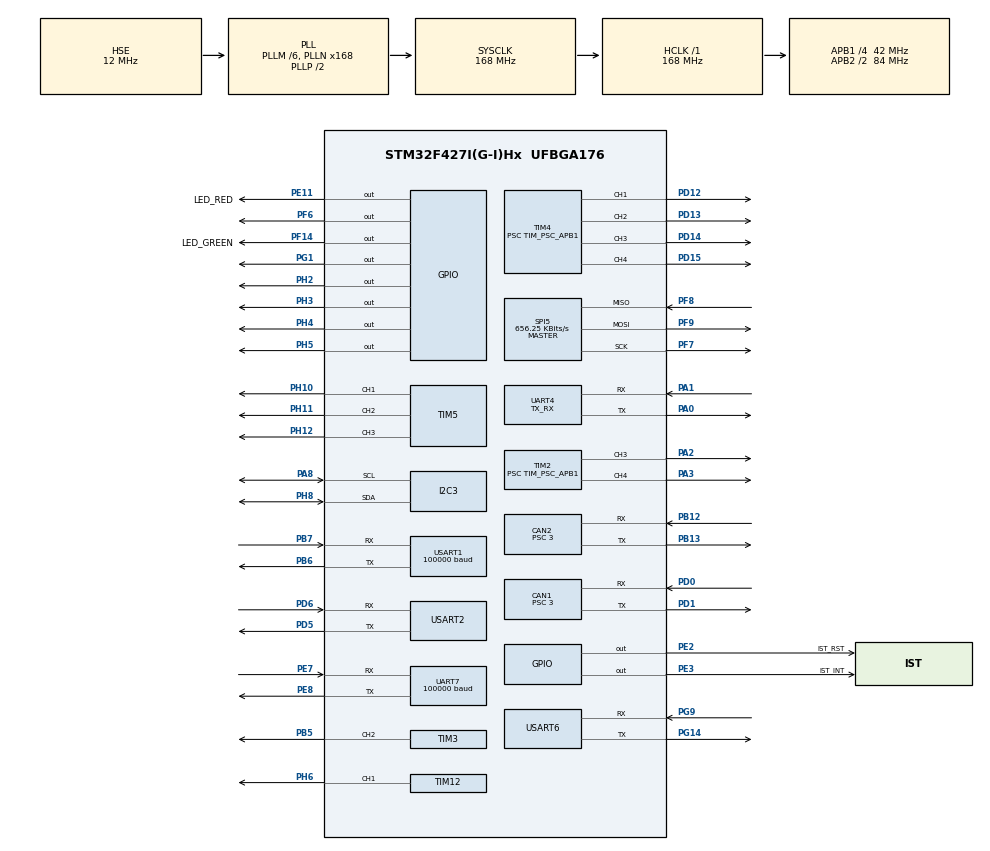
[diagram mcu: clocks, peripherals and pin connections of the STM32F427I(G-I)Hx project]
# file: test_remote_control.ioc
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CAN1.BS1=CAN_BS1_9TQ
CAN1.BS2=CAN_BS2_4TQ
CAN1.CalculateBaudRate=1000000
CAN1.CalculateTimeQuantum=71.42857142857143
CAN1.Prescaler=3
CAN2.BS1=CAN_BS1_9TQ
CAN2.BS2=CAN_BS2_4TQ
CAN2.CalculateBaudRate=1000000
CAN2.CalculateTimeQuantum=71.42857142857143
CAN2.Prescaler=3
Dma.Request0=USART1_RX
Dma.Request1=USART2_RX
Dma.Request2=USART2_TX
Dma.USART1_RX.0.Direction=DMA_PERIPH_TO_MEMORY
Dma.USART1_RX.0.FIFOMode=DMA_FIFOMODE_DISABLE
Dma.USART1_RX.0.Instance=DMA2_Stream2
Dma.USART1_RX.0.MemDataAlignment=DMA_MDATAALIGN_BYTE
Dma.USART1_RX.0.MemInc=DMA_MINC_ENABLE
Dma.USART1_RX.0.Mode=DMA_CIRCULAR
Dma.USART1_RX.0.PeriphDataAlignment=DMA_PDATAALIGN_BYTE
Dma.USART1_RX.0.PeriphInc=DMA_PINC_DISABLE
Dma.USART1_RX.0.Priority=DMA_PRIORITY_VERY_HIGH
Dma.USART2_RX.1.Direction=DMA_PERIPH_TO_MEMORY
Dma.USART2_RX.1.FIFOMode=DMA_FIFOMODE_DISABLE
Dma.USART2_RX.1.Instance=DMA1_Stream5
Dma.USART2_RX.1.MemDataAlignment=DMA_MDATAALIGN_BYTE
Dma.USART2_RX.1.MemInc=DMA_MINC_ENABLE
Dma.USART2_RX.1.Mode=DMA_NORMAL
Dma.USART2_RX.1.PeriphDataAlignment=DMA_PDATAALIGN_BYTE
Dma.USART2_RX.1.PeriphInc=DMA_PINC_DISABLE
Dma.USART2_RX.1.Priority=DMA_PRIORITY_LOW
Dma.USART2_TX.2.Direction=DMA_MEMORY_TO_PERIPH
Dma.USART2_TX.2.FIFOMode=DMA_FIFOMODE_DISABLE
Dma.USART2_TX.2.Instance=DMA1_Stream6
Dma.USART2_TX.2.MemDataAlignment=DMA_MDATAALIGN_BYTE
Dma.USART2_TX.2.MemInc=DMA_MINC_ENABLE
Dma.USART2_TX.2.Mode=DMA_NORMAL
Dma.USART2_TX.2.PeriphDataAlignment=DMA_PDATAALIGN_BYTE
Dma.USART2_TX.2.PeriphInc=DMA_PINC_DISABLE
Dma.USART2_TX.2.Priority=DMA_PRIORITY_LOW
Mcu.Family=STM32F4
Mcu.Name=STM32F427I(G-I)Hx
Mcu.Package=UFBGA176
Mcu.UserConstants=APB1_TIMER_CLOCKS,84000000;APB2_TIMER_CLOCKS,168000000;PWM_FREQUENCE,50;PWM_RESOLUTION,10000;PWM_DEFAULT_DUTY,1000;TIM_PSC_APB1,((APB1_TIMER_CLOCKS/PWM_FREQUENCE)/PWM_RESOLUTION -1);TIM_PSC_APB2,((APB2_TIMER_CLOCKS/PWM_FREQUENCE)/PWM_RESOLUTION -1)
NVIC.CAN1_RX0_IRQn=true\:0\:0\:false\:false\:true\:true\:true
NVIC.CAN1_TX_IRQn=true\:0\:0\:false\:false\:true\:true\:true
NVIC.CAN2_RX0_IRQn=true\:0\:0\:false\:false\:true\:true\:true
NVIC.CAN2_TX_IRQn=true\:0\:0\:false\:false\:true\:true\:true
NVIC.DMA1_Stream5_IRQn=true\:0\:0\:false\:false\:true\:false\:true
NVIC.DMA1_Stream6_IRQn=true\:0\:0\:false\:false\:true\:false\:true
NVIC.DMA2_Stream2_IRQn=true\:0\:0\:false\:false\:true\:false\:true
NVIC.PriorityGroup=NVIC_PRIORITYGROUP_4
NVIC.UART4_IRQn=true\:0\:0\:false\:false\:true\:true\:true
NVIC.USART1_IRQn=true\:0\:0\:false\:false\:true\:true\:true
NVIC.USART2_IRQn=true\:0\:0\:false\:false\:true\:true\:true
NVIC.USART6_IRQn=true\:0\:0\:false\:false\:true\:true\:true
PA0/WKUP.Mode=Asynchronous
PA0/WKUP.Signal=UART4_TX
PA1.Mode=Asynchronous
PA1.Signal=UART4_RX
PA13.Mode=Serial_Wire
PA13.Signal=SYS_JTMS-SWDIO
PA14.Mode=Serial_Wire
PA14.Signal=SYS_JTCK-SWCLK
PA2.Signal=S_TIM2_CH3
PA3.Signal=S_TIM2_CH4
PA8.Mode=I2C
PA8.Signal=I2C3_SCL
PA9.Signal=I2C3_SMBA
PB12.Mode=CAN_Activate
PB12.Signal=CAN2_RX
PB13.Mode=CAN_Activate
PB13.Signal=CAN2_TX
PB5.Signal=S_TIM3_CH2
PB6.Mode=Asynchronous
PB6.Signal=USART1_TX
PB7.Mode=Asynchronous
PB7.Signal=USART1_RX
PD0.Mode=CAN_Activate
PD0.Signal=CAN1_RX
PD1.Mode=CAN_Activate
PD1.Signal=CAN1_TX
PD12.Signal=S_TIM4_CH1
PD13.Signal=S_TIM4_CH2
PD14.Signal=S_TIM4_CH3
PD15.Signal=S_TIM4_CH4
PD5.Mode=Asynchronous
PD5.Signal=USART2_TX
PD6.Mode=Asynchronous
PD6.Signal=USART2_RX
PE11.GPIO_Label=LED_RED
PE11.Signal=GPIO_Output
PE2.GPIO_Label=IST_RST
PE2.GPIO_Speed=GPIO_SPEED_FREQ_VERY_HIGH
PE2.Signal=GPIO_Output
PE3.GPIO_Label=IST_INT
PE3.GPIO_Speed=GPIO_SPEED_FREQ_VERY_HIGH
PE3.Signal=GPIO_Output
PE7.Mode=Asynchronous
PE7.Signal=UART7_RX
PE8.Mode=Asynchronous
PE8.Signal=UART7_TX
PF14.GPIO_Label=LED_GREEN
PF14.Signal=GPIO_Output
PF6.Signal=GPIO_Output
PF7.Mode=Full_Duplex_Master
PF7.Signal=SPI5_SCK
PF8.Mode=Full_Duplex_Master
PF8.Signal=SPI5_MISO
PF9.Mode=Full_Duplex_Master
PF9.Signal=SPI5_MOSI
PG1.Signal=GPIO_Output
PG14.Mode=Asynchronous
PG14.Signal=USART6_TX
PG9.Mode=Asynchronous
PG9.Signal=USART6_RX
PH0/OSC_IN.Mode=HSE-External-Oscillator
PH0/OSC_IN.Signal=RCC_OSC_IN
PH1/OSC_OUT.Mode=HSE-External-Oscillator
PH1/OSC_OUT.Signal=RCC_OSC_OUT
PH10.Signal=S_TIM5_CH1
PH11.Signal=S_TIM5_CH2
PH12.Signal=S_TIM5_CH3
PH2.Signal=GPIO_Output
PH3.Signal=GPIO_Output
PH4.Signal=GPIO_Output
PH5.Signal=GPIO_Output
PH6.Signal=S_TIM12_CH1
PH8.Mode=I2C
PH8.Signal=I2C3_SDA
ProjectManager.HeapSize=0x200
ProjectManager.StackSize=0x400
ProjectManager.TargetToolchain=STM32CubeIDE
RCC.48MHZClocksFreq_Value=84000000
RCC.AHBFreq_Value=168000000
RCC.APB1CLKDivider=RCC_HCLK_DIV4
RCC.APB1Freq_Value=42000000
RCC.APB1TimFreq_Value=84000000
RCC.APB2CLKDivider=RCC_HCLK_DIV2
RCC.APB2Freq_Value=84000000
RCC.APB2TimFreq_Value=168000000
RCC.CortexFreq_Value=168000000
RCC.HCLKFreq_Value=168000000
RCC.HSE_VALUE=12000000
RCC.HSI_VALUE=16000000
RCC.LSE_VALUE=32768
RCC.PLLM=6
RCC.PLLN=168
RCC.PLLSourceVirtual=RCC_PLLSOURCE_HSE
RCC.SYSCLKFreq_VALUE=168000000
RCC.SYSCLKSource=RCC_SYSCLKSOURCE_PLLCLK
RCC.VCOOutputFreq_Value=336000000
SH.S_TIM12_CH1.0=TIM12_CH1,PWM Generation1 CH1
SH.S_TIM2_CH3.0=TIM2_CH3,PWM Generation3 CH3
SH.S_TIM2_CH4.0=TIM2_CH4,PWM Generation4 CH4
SH.S_TIM3_CH2.0=TIM3_CH2,PWM Generation2 CH2
SH.S_TIM4_CH1.0=TIM4_CH1,PWM Generation1 CH1
SH.S_TIM4_CH2.0=TIM4_CH2,PWM Generation2 CH2
SH.S_TIM4_CH3.0=TIM4_CH3,PWM Generation3 CH3
SH.S_TIM4_CH4.0=TIM4_CH4,PWM Generation4 CH4
SH.S_TIM5_CH1.0=TIM5_CH1,PWM Generation1 CH1
SH.S_TIM5_CH2.0=TIM5_CH2,PWM Generation2 CH2
SH.S_TIM5_CH3.0=TIM5_CH3,PWM Generation3 CH3
SPI5.BaudRatePrescaler=SPI_BAUDRATEPRESCALER_128
SPI5.CalculateBaudRate=656.25 KBits/s
SPI5.Direction=SPI_DIRECTION_2LINES
SPI5.Mode=SPI_MODE_MASTER
SPI5.VirtualType=VM_MASTER
TIM12.Channel-PWM\ Generation1\ CH1=TIM_CHANNEL_1
TIM12.Period=7777
TIM12.Prescaler=3
TIM2.Channel-PWM\ Generation3\ CH3=TIM_CHANNEL_3
TIM2.Channel-PWM\ Generation4\ CH4=TIM_CHANNEL_4
TIM2.Period=PWM_RESOLUTION-1
TIM2.Prescaler=TIM_PSC_APB1
TIM2.Pulse-PWM\ Generation3\ CH3=PWM_DEFAULT_DUTY
TIM2.Pulse-PWM\ Generation4\ CH4=PWM_DEFAULT_DUTY
TIM3.Channel-PWM\ Generation2\ CH2=TIM_CHANNEL_2
TIM3.Period=4999
TIM3.Prescaler=0
TIM4.Channel-PWM\ Generation1\ CH1=TIM_CHANNEL_1
TIM4.Channel-PWM\ Generation2\ CH2=TIM_CHANNEL_2
TIM4.Channel-PWM\ Generation3\ CH3=TIM_CHANNEL_3
TIM4.Channel-PWM\ Generation4\ CH4=TIM_CHANNEL_4
TIM4.OCMode_PWM-PWM\ Generation4\ CH4=TIM_OCMODE_PWM1
TIM4.Period=PWM_RESOLUTION-1
TIM4.Prescaler=TIM_PSC_APB1
TIM4.Pulse-PWM\ Generation1\ CH1=PWM_DEFAULT_DUTY
TIM4.Pulse-PWM\ Generation2\ CH2=PWM_DEFAULT_DUTY
TIM4.Pulse-PWM\ Generation3\ CH3=PWM_DEFAULT_DUTY
TIM4.Pulse-PWM\ Generation4\ CH4=PWM_DEFAULT_DUTY
TIM5.Channel-PWM\ Generation1\ CH1=TIM_CHANNEL_1
TIM5.Channel-PWM\ Generation2\ CH2=TIM_CHANNEL_2
TIM5.Channel-PWM\ Generation3\ CH3=TIM_CHANNEL_3
UART4.Mode=MODE_TX_RX
UART4.Parity=PARITY_EVEN
UART4.VirtualMode=Asynchronous
UART7.BaudRate=100000
UART7.VirtualMode=Asynchronous
USART1.BaudRate=100000
USART1.Parity=PARITY_EVEN
USART1.VirtualMode=VM_ASYNC
USART2.VirtualMode=VM_ASYNC
USART6.VirtualMode=VM_ASYNC
board=custom

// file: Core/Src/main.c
/* USER CODE BEGIN Header */
/**
  ******************************************************************************
  * @file           : main.c
  * @brief          : Main program body
  ******************************************************************************
  * @attention
  *
  * <h2><center>&copy; Copyright (c) 2020 STMicroelectronics.
  * All rights reserved.</center></h2>
  *
  * This software component is licensed by ST under BSD 3-Clause license,
  * the "License"; You may not use this file except in compliance with the
  * License. You may obtain a copy of the License at:
  *                        opensource.org/licenses/BSD-3-Clause
  *
  ******************************************************************************
  */
/* USER CODE END Header */
#include "main.h"

/* USER CODE BEGIN Includes */
#include <stdlib.h>
#include <stdio.h>
#include <math.h>
#include <unistd.h>
#include <time.h>
#include "rm_uart.h"
#include "rm_gpio.h"

/* USER CODE END Includes */

/* USER CODE BEGIN PD */
//#define INF_2

/* USER CODE END PD */

CAN_HandleTypeDef hcan1;
CAN_HandleTypeDef hcan2;

I2C_HandleTypeDef hi2c3;

SPI_HandleTypeDef hspi5;

TIM_HandleTypeDef htim2;
TIM_HandleTypeDef htim3;
TIM_HandleTypeDef htim4;
TIM_HandleTypeDef htim5;
TIM_HandleTypeDef htim12;

UART_HandleTypeDef huart4;
UART_HandleTypeDef huart7;
UART_HandleTypeDef huart1;
UART_HandleTypeDef huart2;
UART_HandleTypeDef huart6;
DMA_HandleTypeDef hdma_usart1_rx;
DMA_HandleTypeDef hdma_usart2_rx;
DMA_HandleTypeDef hdma_usart2_tx;

/* USER CODE BEGIN PV */

int16_t leftJoyX;
int16_t leftJoyY;
int16_t rightJoyX;
int16_t rightJoyY;

int16_t wheel;
int16_t leftSwitch;
int16_t rightSwitch;
char sendString[21];

/* USER CODE END PV */

void SystemClock_Config(void);
static void MX_GPIO_Init(void);
static void MX_DMA_Init(void);
static void MX_CAN1_Init(void);
static void MX_CAN2_Init(void);
static void MX_SPI5_Init(void);
static void MX_TIM2_Init(void);
static void MX_TIM4_Init(void);
static void MX_USART1_UART_Init(void);
static void MX_USART2_UART_Init(void);
static void MX_USART6_UART_Init(void);
static void MX_TIM3_Init(void);
static void MX_TIM12_Init(void);
static void MX_TIM5_Init(void);
static void MX_I2C3_Init(void);
static void MX_UART4_Init(void);
static void MX_UART7_Init(void);
/* USER CODE BEGIN PFP */
void processMKB();
void processController();
void processSentry();
/* USER CODE END PFP */

/* USER CODE BEGIN 0 */

char numdataToMSC(int in){
	in += 660; // Fuck them negatives
	int carry = in / 94;
	char charCarry = (char)(carry+32);
	return charCarry;
}

char numdataToLSC(int in){
	in += 660; // Fuck them negatives
	int remainder = in % 94;
	char charRemainder = (char)(remainder+32);
	return charRemainder;
}

char switchToChar(int in) {
    in += 32;
    return (char)in;
}

void getRCVals() {
	leftJoyX = rc.ch3;
	leftJoyY = rc.ch4;
	rightJoyX = rc.ch1;
	rightJoyY = rc.ch2;

	wheel = rc.wheel;

	leftSwitch = rc.sw1;
	rightSwitch = rc.sw2;

}

/* USER CODE END 0 */

int main(void)
{

  /* MCU Configuration--------------------------------------------------------*/

  /* Reset of all peripherals, Initializes the Flash interface and the Systick. */
  HAL_Init();

  /* Configure the system clock */
  SystemClock_Config();

  /* Initialize all configured peripherals */
  MX_GPIO_Init();
  MX_DMA_Init();
  MX_CAN1_Init();
  MX_CAN2_Init();
  MX_SPI5_Init();
  MX_TIM2_Init();
  MX_TIM4_Init();
  MX_USART1_UART_Init();
  MX_USART2_UART_Init();
  MX_USART6_UART_Init();
  MX_TIM3_Init();
  MX_TIM12_Init();
  MX_TIM5_Init();
  MX_I2C3_Init();
  MX_UART4_Init();
  MX_UART7_Init();
  /* USER CODE BEGIN 2 */

  led_off();
  power_on();
  dbus_uart_init();

  /* USER CODE END 2 */

  /* Infinite loop */
  /* USER CODE BEGIN WHILE */
  while (1)
  {
	  getRCVals();
	  sendString[0] = numdataToMSC(leftJoyX);
	  sendString[1] = numdataToLSC(leftJoyX);
	  sendString[2] = numdataToMSC(leftJoyY);
	  sendString[3] = numdataToLSC(leftJoyY);
	  sendString[4] = numdataToMSC(rightJoyX);
	  sendString[5] = numdataToLSC(rightJoyX);
	  sendString[6] = numdataToMSC(rightJoyY);
	  sendString[7] = numdataToLSC(rightJoyY);
	  sendString[8] = numdataToMSC(wheel);
	  sendString[9] = numdataToLSC(wheel);
	  sendString[10] = switchToChar(leftSwitch);
	  sendString[11] = switchToChar(rightSwitch);

	  sendString[12] = numdataToMSC(rc.mouse.x);
	  sendString[13] = numdataToLSC(rc.mouse.x);
	  sendString[14] = numdataToMSC(rc.mouse.y);
	  sendString[15] = numdataToLSC(rc.mouse.y);
	  sendString[16] = numdataToMSC(rc.mouse.z);
	  sendString[17] = numdataToLSC(rc.mouse.z);
	  sendString[18] = switchToChar(rc.mouse.l);
	  sendString[19] = switchToChar(rc.mouse.r);

	  sendString[20] = (char)rc.kb.key_code;

	  HAL_UART_Transmit(&huart7, sendString, sizeof(sendString) ,HAL_MAX_DELAY);
	  HAL_Delay(40); // Important as to not spam the Nucleo

    /* USER CODE END WHILE */

  }
}

void SystemClock_Config(void)
{
  RCC_OscInitTypeDef RCC_OscInitStruct = {0};
  RCC_ClkInitTypeDef RCC_ClkInitStruct = {0};

  /** Configure the main internal regulator output voltage
  */
  __HAL_RCC_PWR_CLK_ENABLE();
  __HAL_PWR_VOLTAGESCALING_CONFIG(PWR_REGULATOR_VOLTAGE_SCALE1);
  /** Initializes the RCC Oscillators according to the specified parameters
  * in the RCC_OscInitTypeDef structure.
  */
  RCC_OscInitStruct.OscillatorType = RCC_OSCILLATORTYPE_HSE;
  RCC_OscInitStruct.HSEState = RCC_HSE_ON;
  RCC_OscInitStruct.PLL.PLLState = RCC_PLL_ON;
  RCC_OscInitStruct.PLL.PLLSource = RCC_PLLSOURCE_HSE;
  RCC_OscInitStruct.PLL.PLLM = 6;
  RCC_OscInitStruct.PLL.PLLN = 168;
  RCC_OscInitStruct.PLL.PLLP = RCC_PLLP_DIV2;
  RCC_OscInitStruct.PLL.PLLQ = 4;
  if (HAL_RCC_OscConfig(&RCC_OscInitStruct) != HAL_OK)
  {
    Error_Handler();
  }
  /** Initializes the CPU, AHB and APB buses clocks
  */
  RCC_ClkInitStruct.ClockType = RCC_CLOCKTYPE_HCLK|RCC_CLOCKTYPE_SYSCLK
                              |RCC_CLOCKTYPE_PCLK1|RCC_CLOCKTYPE_PCLK2;
  RCC_ClkInitStruct.SYSCLKSource = RCC_SYSCLKSOURCE_PLLCLK;
  RCC_ClkInitStruct.AHBCLKDivider = RCC_SYSCLK_DIV1;
  RCC_ClkInitStruct.APB1CLKDivider = RCC_HCLK_DIV4;
  RCC_ClkInitStruct.APB2CLKDivider = RCC_HCLK_DIV2;

  if (HAL_RCC_ClockConfig(&RCC_ClkInitStruct, FLASH_LATENCY_5) != HAL_OK)
  {
    Error_Handler();
  }
}

static void MX_CAN1_Init(void)
{

  hcan1.Instance = CAN1;
  hcan1.Init.Prescaler = 3;
  hcan1.Init.Mode = CAN_MODE_NORMAL;
  hcan1.Init.SyncJumpWidth = CAN_SJW_1TQ;
  hcan1.Init.TimeSeg1 = CAN_BS1_9TQ;
  hcan1.Init.TimeSeg2 = CAN_BS2_4TQ;
  hcan1.Init.TimeTriggeredMode = DISABLE;
  hcan1.Init.AutoBusOff = DISABLE;
  hcan1.Init.AutoWakeUp = DISABLE;
  hcan1.Init.AutoRetransmission = DISABLE;
  hcan1.Init.ReceiveFifoLocked = DISABLE;
  hcan1.Init.TransmitFifoPriority = DISABLE;
  if (HAL_CAN_Init(&hcan1) != HAL_OK)
  {
    Error_Handler();
  }

}

static void MX_CAN2_Init(void)
{

  hcan2.Instance = CAN2;
  hcan2.Init.Prescaler = 3;
  hcan2.Init.Mode = CAN_MODE_NORMAL;
  hcan2.Init.SyncJumpWidth = CAN_SJW_1TQ;
  hcan2.Init.TimeSeg1 = CAN_BS1_9TQ;
  hcan2.Init.TimeSeg2 = CAN_BS2_4TQ;
  hcan2.Init.TimeTriggeredMode = DISABLE;
  hcan2.Init.AutoBusOff = DISABLE;
  hcan2.Init.AutoWakeUp = DISABLE;
  hcan2.Init.AutoRetransmission = DISABLE;
  hcan2.Init.ReceiveFifoLocked = DISABLE;
  hcan2.Init.TransmitFifoPriority = DISABLE;
  if (HAL_CAN_Init(&hcan2) != HAL_OK)
  {
    Error_Handler();
  }

}

static void MX_I2C3_Init(void)
{

  hi2c3.Instance = I2C3;
  hi2c3.Init.ClockSpeed = 100000;
  hi2c3.Init.DutyCycle = I2C_DUTYCYCLE_2;
  hi2c3.Init.OwnAddress1 = 0;
  hi2c3.Init.AddressingMode = I2C_ADDRESSINGMODE_7BIT;
  hi2c3.Init.DualAddressMode = I2C_DUALADDRESS_DISABLE;
  hi2c3.Init.OwnAddress2 = 0;
  hi2c3.Init.GeneralCallMode = I2C_GENERALCALL_DISABLE;
  hi2c3.Init.NoStretchMode = I2C_NOSTRETCH_DISABLE;
  if (HAL_I2C_Init(&hi2c3) != HAL_OK)
  {
    Error_Handler();
  }
  /** Configure Analogue filter
  */
  if (HAL_I2CEx_ConfigAnalogFilter(&hi2c3, I2C_ANALOGFILTER_ENABLE) != HAL_OK)
  {
    Error_Handler();
  }
  /** Configure Digital filter
  */
  if (HAL_I2CEx_ConfigDigitalFilter(&hi2c3, 0) != HAL_OK)
  {
    Error_Handler();
  }

}

static void MX_SPI5_Init(void)
{

  /* SPI5 parameter configuration*/
  hspi5.Instance = SPI5;
  hspi5.Init.Mode = SPI_MODE_MASTER;
  hspi5.Init.Direction = SPI_DIRECTION_2LINES;
  hspi5.Init.DataSize = SPI_DATASIZE_8BIT;
  hspi5.Init.CLKPolarity = SPI_POLARITY_LOW;
  hspi5.Init.CLKPhase = SPI_PHASE_1EDGE;
  hspi5.Init.NSS = SPI_NSS_SOFT;
  hspi5.Init.BaudRatePrescaler = SPI_BAUDRATEPRESCALER_128;
  hspi5.Init.FirstBit = SPI_FIRSTBIT_MSB;
  hspi5.Init.TIMode = SPI_TIMODE_DISABLE;
  hspi5.Init.CRCCalculation = SPI_CRCCALCULATION_DISABLE;
  hspi5.Init.CRCPolynomial = 10;
  if (HAL_SPI_Init(&hspi5) != HAL_OK)
  {
    Error_Handler();
  }

}

static void MX_TIM2_Init(void)
{

  TIM_MasterConfigTypeDef sMasterConfig = {0};
  TIM_OC_InitTypeDef sConfigOC = {0};

  htim2.Instance = TIM2;
  htim2.Init.Prescaler = TIM_PSC_APB1;
  htim2.Init.CounterMode = TIM_COUNTERMODE_UP;
  htim2.Init.Period = PWM_RESOLUTION-1;
  htim2.Init.ClockDivision = TIM_CLOCKDIVISION_DIV1;
  htim2.Init.AutoReloadPreload = TIM_AUTORELOAD_PRELOAD_DISABLE;
  if (HAL_TIM_PWM_Init(&htim2) != HAL_OK)
  {
    Error_Handler();
  }
  sMasterConfig.MasterOutputTrigger = TIM_TRGO_RESET;
  sMasterConfig.MasterSlaveMode = TIM_MASTERSLAVEMODE_DISABLE;
  if (HAL_TIMEx_MasterConfigSynchronization(&htim2, &sMasterConfig) != HAL_OK)
  {
    Error_Handler();
  }
  sConfigOC.OCMode = TIM_OCMODE_PWM1;
  sConfigOC.Pulse = PWM_DEFAULT_DUTY;
  sConfigOC.OCPolarity = TIM_OCPOLARITY_HIGH;
  sConfigOC.OCFastMode = TIM_OCFAST_DISABLE;
  if (HAL_TIM_PWM_ConfigChannel(&htim2, &sConfigOC, TIM_CHANNEL_3) != HAL_OK)
  {
    Error_Handler();
  }
  if (HAL_TIM_PWM_ConfigChannel(&htim2, &sConfigOC, TIM_CHANNEL_4) != HAL_OK)
  {
    Error_Handler();
  }
  HAL_TIM_MspPostInit(&htim2);

}

static void MX_TIM3_Init(void)
{

  TIM_MasterConfigTypeDef sMasterConfig = {0};
  TIM_OC_InitTypeDef sConfigOC = {0};

  htim3.Instance = TIM3;
  htim3.Init.Prescaler = 0;
  htim3.Init.CounterMode = TIM_COUNTERMODE_UP;
  htim3.Init.Period = 4999;
  htim3.Init.ClockDivision = TIM_CLOCKDIVISION_DIV1;
  htim3.Init.AutoReloadPreload = TIM_AUTORELOAD_PRELOAD_DISABLE;
  if (HAL_TIM_PWM_Init(&htim3) != HAL_OK)
  {
    Error_Handler();
  }
  sMasterConfig.MasterOutputTrigger = TIM_TRGO_RESET;
  sMasterConfig.MasterSlaveMode = TIM_MASTERSLAVEMODE_DISABLE;
  if (HAL_TIMEx_MasterConfigSynchronization(&htim3, &sMasterConfig) != HAL_OK)
  {
    Error_Handler();
  }
  sConfigOC.OCMode = TIM_OCMODE_PWM1;
  sConfigOC.Pulse = 0;
  sConfigOC.OCPolarity = TIM_OCPOLARITY_HIGH;
  sConfigOC.OCFastMode = TIM_OCFAST_DISABLE;
  if (HAL_TIM_PWM_ConfigChannel(&htim3, &sConfigOC, TIM_CHANNEL_2) != HAL_OK)
  {
    Error_Handler();
  }
  HAL_TIM_MspPostInit(&htim3);

}

static void MX_TIM4_Init(void)
{

  TIM_MasterConfigTypeDef sMasterConfig = {0};
  TIM_OC_InitTypeDef sConfigOC = {0};

  htim4.Instance = TIM4;
  htim4.Init.Prescaler = TIM_PSC_APB1;
  htim4.Init.CounterMode = TIM_COUNTERMODE_UP;
  htim4.Init.Period = PWM_RESOLUTION-1;
  htim4.Init.ClockDivision = TIM_CLOCKDIVISION_DIV1;
  htim4.Init.AutoReloadPreload = TIM_AUTORELOAD_PRELOAD_DISABLE;
  if (HAL_TIM_PWM_Init(&htim4) != HAL_OK)
  {
    Error_Handler();
  }
  sMasterConfig.MasterOutputTrigger = TIM_TRGO_RESET;
  sMasterConfig.MasterSlaveMode = TIM_MASTERSLAVEMODE_DISABLE;
  if (HAL_TIMEx_MasterConfigSynchronization(&htim4, &sMasterConfig) != HAL_OK)
  {
    Error_Handler();
  }
  sConfigOC.OCMode = TIM_OCMODE_PWM1;
  sConfigOC.Pulse = PWM_DEFAULT_DUTY;
  sConfigOC.OCPolarity = TIM_OCPOLARITY_HIGH;
  sConfigOC.OCFastMode = TIM_OCFAST_DISABLE;
  if (HAL_TIM_PWM_ConfigChannel(&htim4, &sConfigOC, TIM_CHANNEL_1) != HAL_OK)
  {
    Error_Handler();
  }
  if (HAL_TIM_PWM_ConfigChannel(&htim4, &sConfigOC, TIM_CHANNEL_2) != HAL_OK)
  {
    Error_Handler();
  }
  if (HAL_TIM_PWM_ConfigChannel(&htim4, &sConfigOC, TIM_CHANNEL_3) != HAL_OK)
  {
    Error_Handler();
  }
  if (HAL_TIM_PWM_ConfigChannel(&htim4, &sConfigOC, TIM_CHANNEL_4) != HAL_OK)
  {
    Error_Handler();
  }
  HAL_TIM_MspPostInit(&htim4);

}

static void MX_TIM5_Init(void)
{

  TIM_MasterConfigTypeDef sMasterConfig = {0};
  TIM_OC_InitTypeDef sConfigOC = {0};

  htim5.Instance = TIM5;
  htim5.Init.Prescaler = 0;
  htim5.Init.CounterMode = TIM_COUNTERMODE_UP;
  htim5.Init.Period = 4294967295;
  htim5.Init.ClockDivision = TIM_CLOCKDIVISION_DIV1;
  htim5.Init.AutoReloadPreload = TIM_AUTORELOAD_PRELOAD_DISABLE;
  if (HAL_TIM_PWM_Init(&htim5) != HAL_OK)
  {
    Error_Handler();
  }
  sMasterConfig.MasterOutputTrigger = TIM_TRGO_RESET;
  sMasterConfig.MasterSlaveMode = TIM_MASTERSLAVEMODE_DISABLE;
  if (HAL_TIMEx_MasterConfigSynchronization(&htim5, &sMasterConfig) != HAL_OK)
  {
    Error_Handler();
  }
  sConfigOC.OCMode = TIM_OCMODE_PWM1;
  sConfigOC.Pulse = 0;
  sConfigOC.OCPolarity = TIM_OCPOLARITY_HIGH;
  sConfigOC.OCFastMode = TIM_OCFAST_DISABLE;
  if (HAL_TIM_PWM_ConfigChannel(&htim5, &sConfigOC, TIM_CHANNEL_1) != HAL_OK)
  {
    Error_Handler();
  }
  if (HAL_TIM_PWM_ConfigChannel(&htim5, &sConfigOC, TIM_CHANNEL_2) != HAL_OK)
  {
    Error_Handler();
  }
  if (HAL_TIM_PWM_ConfigChannel(&htim5, &sConfigOC, TIM_CHANNEL_3) != HAL_OK)
  {
    Error_Handler();
  }
  HAL_TIM_MspPostInit(&htim5);

}

static void MX_TIM12_Init(void)
{

  TIM_OC_InitTypeDef sConfigOC = {0};

  htim12.Instance = TIM12;
  htim12.Init.Prescaler = 3;
  htim12.Init.CounterMode = TIM_COUNTERMODE_UP;
  htim12.Init.Period = 7777;
  htim12.Init.ClockDivision = TIM_CLOCKDIVISION_DIV1;
  htim12.Init.AutoReloadPreload = TIM_AUTORELOAD_PRELOAD_DISABLE;
  if (HAL_TIM_PWM_Init(&htim12) != HAL_OK)
  {
    Error_Handler();
  }
  sConfigOC.OCMode = TIM_OCMODE_PWM1;
  sConfigOC.Pulse = 0;
  sConfigOC.OCPolarity = TIM_OCPOLARITY_HIGH;
  sConfigOC.OCFastMode = TIM_OCFAST_DISABLE;
  if (HAL_TIM_PWM_ConfigChannel(&htim12, &sConfigOC, TIM_CHANNEL_1) != HAL_OK)
  {
    Error_Handler();
  }
  HAL_TIM_MspPostInit(&htim12);

}

static void MX_UART4_Init(void)
{

  huart4.Instance = UART4;
  huart4.Init.BaudRate = 115200;
  huart4.Init.WordLength = UART_WORDLENGTH_8B;
  huart4.Init.StopBits = UART_STOPBITS_1;
  huart4.Init.Parity = UART_PARITY_EVEN;
  huart4.Init.Mode = UART_MODE_TX_RX;
  huart4.Init.HwFlowCtl = UART_HWCONTROL_NONE;
  huart4.Init.OverSampling = UART_OVERSAMPLING_16;
  if (HAL_UART_Init(&huart4) != HAL_OK)
  {
    Error_Handler();
  }

}

static void MX_UART7_Init(void)
{

  huart7.Instance = UART7;
  huart7.Init.BaudRate = 100000;
  huart7.Init.WordLength = UART_WORDLENGTH_8B;
  huart7.Init.StopBits = UART_STOPBITS_1;
  huart7.Init.Parity = UART_PARITY_NONE;
  huart7.Init.Mode = UART_MODE_TX_RX;
  huart7.Init.HwFlowCtl = UART_HWCONTROL_NONE;
  huart7.Init.OverSampling = UART_OVERSAMPLING_16;
  if (HAL_UART_Init(&huart7) != HAL_OK)
  {
    Error_Handler();
  }

}

static void MX_USART1_UART_Init(void)
{

  huart1.Instance = USART1;
  huart1.Init.BaudRate = 100000;
  huart1.Init.WordLength = UART_WORDLENGTH_8B;
  huart1.Init.StopBits = UART_STOPBITS_1;
  huart1.Init.Parity = UART_PARITY_EVEN;
  huart1.Init.Mode = UART_MODE_TX_RX;
  huart1.Init.HwFlowCtl = UART_HWCONTROL_NONE;
  huart1.Init.OverSampling = UART_OVERSAMPLING_16;
  if (HAL_UART_Init(&huart1) != HAL_OK)
  {
    Error_Handler();
  }

}

static void MX_USART2_UART_Init(void)
{

  huart2.Instance = USART2;
  huart2.Init.BaudRate = 115200;
  huart2.Init.WordLength = UART_WORDLENGTH_8B;
  huart2.Init.StopBits = UART_STOPBITS_1;
  huart2.Init.Parity = UART_PARITY_NONE;
  huart2.Init.Mode = UART_MODE_TX_RX;
  huart2.Init.HwFlowCtl = UART_HWCONTROL_NONE;
  huart2.Init.OverSampling = UART_OVERSAMPLING_16;
  if (HAL_UART_Init(&huart2) != HAL_OK)
  {
    Error_Handler();
  }

}

static void MX_USART6_UART_Init(void)
{

  huart6.Instance = USART6;
  huart6.Init.BaudRate = 115200;
  huart6.Init.WordLength = UART_WORDLENGTH_8B;
  huart6.Init.StopBits = UART_STOPBITS_1;
  huart6.Init.Parity = UART_PARITY_NONE;
  huart6.Init.Mode = UART_MODE_TX_RX;
  huart6.Init.HwFlowCtl = UART_HWCONTROL_NONE;
  huart6.Init.OverSampling = UART_OVERSAMPLING_16;
  if (HAL_UART_Init(&huart6) != HAL_OK)
  {
    Error_Handler();
  }

}

static void MX_DMA_Init(void)
{

  /* DMA controller clock enable */
  __HAL_RCC_DMA2_CLK_ENABLE();
  __HAL_RCC_DMA1_CLK_ENABLE();

  /* DMA interrupt init */
  /* DMA1_Stream5_IRQn interrupt configuration */
  HAL_NVIC_SetPriority(DMA1_Stream5_IRQn, 0, 0);
  HAL_NVIC_EnableIRQ(DMA1_Stream5_IRQn);
  /* DMA1_Stream6_IRQn interrupt configuration */
  HAL_NVIC_SetPriority(DMA1_Stream6_IRQn, 0, 0);
  HAL_NVIC_EnableIRQ(DMA1_Stream6_IRQn);
  /* DMA2_Stream2_IRQn interrupt configuration */
  HAL_NVIC_SetPriority(DMA2_Stream2_IRQn, 0, 0);
  HAL_NVIC_EnableIRQ(DMA2_Stream2_IRQn);

}

static void MX_GPIO_Init(void)
{
  GPIO_InitTypeDef GPIO_InitStruct = {0};

  /* GPIO Ports Clock Enable */
  __HAL_RCC_GPIOE_CLK_ENABLE();
  __HAL_RCC_GPIOB_CLK_ENABLE();
  __HAL_RCC_GPIOG_CLK_ENABLE();
  __HAL_RCC_GPIOA_CLK_ENABLE();
  __HAL_RCC_GPIOD_CLK_ENABLE();
  __HAL_RCC_GPIOH_CLK_ENABLE();
  __HAL_RCC_GPIOF_CLK_ENABLE();

  /*Configure GPIO pin Output Level */
  HAL_GPIO_WritePin(GPIOE, IST_INT_Pin|IST_RST_Pin|LED_RED_Pin, GPIO_PIN_RESET);

  /*Configure GPIO pin Output Level */
  HAL_GPIO_WritePin(GPIOH, GPIO_PIN_2|GPIO_PIN_3|GPIO_PIN_4|GPIO_PIN_5, GPIO_PIN_RESET);

  /*Configure GPIO pin Output Level */
  HAL_GPIO_WritePin(GPIOF, GPIO_PIN_6|LED_GREEN_Pin, GPIO_PIN_RESET);

  /*Configure GPIO pin Output Level */
  HAL_GPIO_WritePin(GPIOG, GPIO_PIN_1, GPIO_PIN_RESET);

  /*Configure GPIO pins : IST_INT_Pin IST_RST_Pin */
  GPIO_InitStruct.Pin = IST_INT_Pin|IST_RST_Pin;
  GPIO_InitStruct.Mode = GPIO_MODE_OUTPUT_PP;
  GPIO_InitStruct.Pull = GPIO_NOPULL;
  GPIO_InitStruct.Speed = GPIO_SPEED_FREQ_VERY_HIGH;
  HAL_GPIO_Init(GPIOE, &GPIO_InitStruct);

  /*Configure GPIO pins : PH2 PH3 PH4 PH5 */
  GPIO_InitStruct.Pin = GPIO_PIN_2|GPIO_PIN_3|GPIO_PIN_4|GPIO_PIN_5;
  GPIO_InitStruct.Mode = GPIO_MODE_OUTPUT_PP;
  GPIO_InitStruct.Pull = GPIO_NOPULL;
  GPIO_InitStruct.Speed = GPIO_SPEED_FREQ_LOW;
  HAL_GPIO_Init(GPIOH, &GPIO_InitStruct);

  /*Configure GPIO pins : PF6 LED_GREEN_Pin */
  GPIO_InitStruct.Pin = GPIO_PIN_6|LED_GREEN_Pin;
  GPIO_InitStruct.Mode = GPIO_MODE_OUTPUT_PP;
  GPIO_InitStruct.Pull = GPIO_NOPULL;
  GPIO_InitStruct.Speed = GPIO_SPEED_FREQ_LOW;
  HAL_GPIO_Init(GPIOF, &GPIO_InitStruct);

  /*Configure GPIO pin : PG1 */
  GPIO_InitStruct.Pin = GPIO_PIN_1;
  GPIO_InitStruct.Mode = GPIO_MODE_OUTPUT_PP;
  GPIO_InitStruct.Pull = GPIO_NOPULL;
  GPIO_InitStruct.Speed = GPIO_SPEED_FREQ_LOW;
  HAL_GPIO_Init(GPIOG, &GPIO_InitStruct);

  /*Configure GPIO pin : LED_RED_Pin */
  GPIO_InitStruct.Pin = LED_RED_Pin;
  GPIO_InitStruct.Mode = GPIO_MODE_OUTPUT_PP;
  GPIO_InitStruct.Pull = GPIO_NOPULL;
  GPIO_InitStruct.Speed = GPIO_SPEED_FREQ_LOW;
  HAL_GPIO_Init(LED_RED_GPIO_Port, &GPIO_InitStruct);

}

void Error_Handler(void)
{
}
